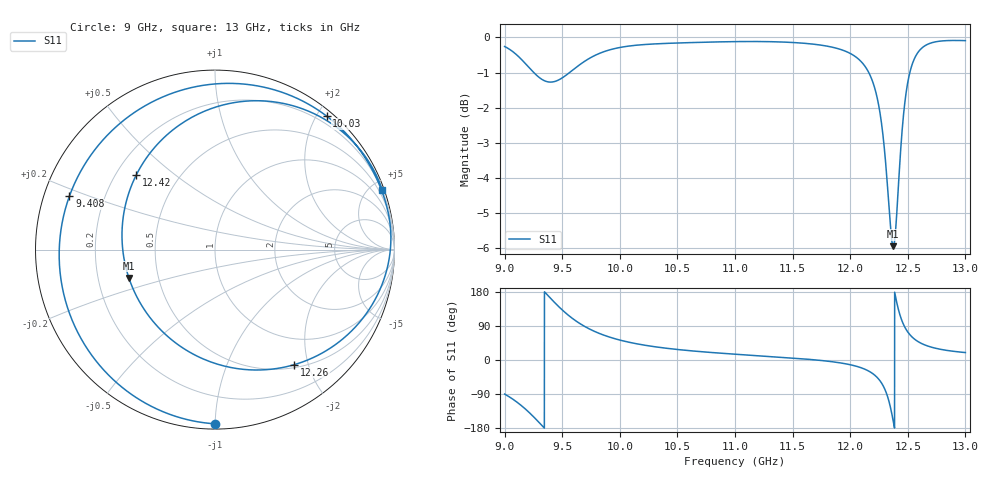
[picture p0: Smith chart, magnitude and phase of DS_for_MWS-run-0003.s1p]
! TOUCHSTONE file generated by CST DESIGN STUDIO
! Date and time: Tue Feb  4 18:45:06 2025
! Project name: C:\Work\MatlabApps\UnitCellOptimizationMatlab\CST\unitcell.cst
! Tree item: Tasks\Sweep1\SPara1\S-Parameters
! Header version: 2024
! Port assignment regex: !\s*Touchstone port\s*([0-9]+)\s*=\s*(CST MWS port|CST DES external port|CST DES block port)\s*(.+)\s* \(\"(.*)\"\)(\s*mode\s*([0-9]+))?.*
! Touchstone port assignment:
! Touchstone port 1 = CST DES external port 1 ("")
# GHz S MA R 50
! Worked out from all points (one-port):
!   4001 points, 9 GHz to 13 GHz, reference 50 ohm
!   lowest |S11| = -5.9 dB at 12.37 GHz (marker M1), VSWR 3.04, Z = 16.8 - j7.13 ohm
!   |S11| at or under -10 dB: nowhere
!   S11 on the Smith chart (normalised r, x): 9 GHz: 0.03, -1.00; 9.408 GHz: 0.08, +0.18; 10.03 GHz: 0.09, +2.14; 12.26 GHz: 0.55, -1.78; 12.42 GHz: 0.28, +0.37; 13 GHz: 0.18, +5.77
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9  0.9707 -89.9
9.097  0.947 -108.9
9.184  0.9167 -130.4
9.302  0.8767 -165.7
9.408  0.864 159.9
9.5  0.8759 132.2
9.588  0.8978 109.9
9.686  0.9228 90.2
9.834  0.9506 68.7
10  0.9675 52.6
10.033  0.9696 50.1
10.5  0.9819 27.8
11  0.9864 15.3
11.5  0.9835 5.1
12  0.949 -12.5
12.162  0.8908 -29.5
12.216  0.8437 -40.8
12.26  0.7788 -55.4
12.323  0.6163 -95.1
12.348  0.5417 -123.1
12.374  0.505 -161.8
12.395  0.5342 165.0
12.416  0.6051 136.3
12.455  0.7516 99.2
12.5  0.8637 73.8
12.567  0.9397 53.0
12.657  0.9749 38.6
13  0.9896 19.6
